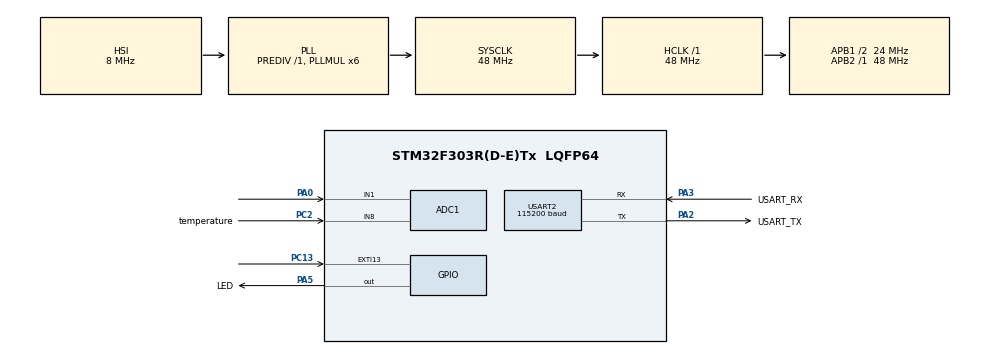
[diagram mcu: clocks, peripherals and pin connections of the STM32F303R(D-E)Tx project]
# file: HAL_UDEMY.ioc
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ADC1.Channel-3\#ChannelRegularConversion=ADC_CHANNEL_1
ADC1.ContinuousConvMode=ENABLE
ADC1.NbrOfConversionFlag=1
ADC1.Offset-3\#ChannelRegularConversion=0
ADC1.OffsetNumber-3\#ChannelRegularConversion=ADC_OFFSET_NONE
ADC1.Rank-3\#ChannelRegularConversion=1
ADC1.SamplingTime-3\#ChannelRegularConversion=ADC_SAMPLETIME_1CYCLE_5
ADC1.master=1
Mcu.Family=STM32F3
Mcu.Name=STM32F303R(D-E)Tx
Mcu.Package=LQFP64
NVIC.PriorityGroup=NVIC_PRIORITYGROUP_0
NVIC.TIM3_IRQn=true\:0\:0\:false\:false\:true\:true\:true\:true
PA0.Mode=IN1-Single-Ended
PA0.Signal=ADC1_IN1
PA13.GPIO_Label=TMS
PA13.Mode=Serial_Wire
PA13.Signal=SYS_JTMS-SWDIO
PA14.GPIO_Label=TCK
PA14.Mode=Serial_Wire
PA14.Signal=SYS_JTCK-SWCLK
PA2.GPIO_Label=USART_TX
PA2.GPIO_Mode=GPIO_MODE_AF_PP
PA2.GPIO_PuPd=GPIO_NOPULL
PA2.GPIO_Speed=GPIO_SPEED_FREQ_LOW
PA2.Mode=Asynchronous
PA2.Signal=USART2_TX
PA3.GPIO_Label=USART_RX
PA3.GPIO_Mode=GPIO_MODE_AF_PP
PA3.GPIO_PuPd=GPIO_NOPULL
PA3.GPIO_Speed=GPIO_SPEED_FREQ_LOW
PA3.Mode=Asynchronous
PA3.Signal=USART2_RX
PA5.GPIO_Label=LED
PA5.GPIO_Mode=GPIO_MODE_OUTPUT_PP
PA5.GPIO_PuPd=GPIO_NOPULL
PA5.GPIO_Speed=GPIO_SPEED_FREQ_LOW
PA5.Signal=GPIO_Output
PB3.GPIO_Label=SWO
PB3.Signal=SYS_JTDO-TRACESWO
PC13.Signal=GPXTI13
PC14-OSC32_IN.Signal=RCC_OSC32_IN
PC15-OSC32_OUT.Signal=RCC_OSC32_OUT
PC2.GPIO_Label=temperature
PC2.Signal=ADCx_IN8
PF0-OSC_IN.Signal=RCC_OSC_IN
PF1-OSC_OUT.Signal=RCC_OSC_OUT
ProjectManager.HeapSize=0x200
ProjectManager.StackSize=0x400
ProjectManager.TargetToolchain=STM32CubeIDE
RCC.AHBFreq_Value=48000000
RCC.APB1CLKDivider=RCC_HCLK_DIV2
RCC.APB1Freq_Value=24000000
RCC.APB1TimFreq_Value=48000000
RCC.APB2Freq_Value=48000000
RCC.APB2TimFreq_Value=48000000
RCC.CortexFreq_Value=48000000
RCC.HCLKFreq_Value=48000000
RCC.HSE_VALUE=8000000
RCC.HSI_VALUE=8000000
RCC.LSE_VALUE=32768
RCC.PLLM=8
RCC.PLLMUL=RCC_PLL_MUL6
RCC.PLLN=336
RCC.PLLP=RCC_PLLP_DIV4
RCC.PLLQ=7
RCC.RCC_PLLsource_Clock_Source_FROM_HSE=RCC_HSE_PREDIV_DIV2
RCC.SYSCLKFreq_VALUE=48000000
RCC.SYSCLKSourceVirtual=RCC_SYSCLKSOURCE_PLLCLK
RCC.USBFreq_Value=48000000
SH.ADCx_IN8.0=ADC1_IN8,IN8-Single-Ended
TIM3.Period=5000-1
TIM3.Prescaler=1600-1
TIM6.Period=0xFFFF
TIM6.Prescaler=48-1
USART2.BaudRate=115200
USART2.VirtualMode-Asynchronous=VM_ASYNC
VP_TIM3_VS_ClockSourceINT.Mode=Internal
VP_TIM6_VS_ClockSourceINT.Mode=Enable_Timer
board=NUCLEO-F303RE

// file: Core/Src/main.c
/* USER CODE BEGIN Header */
/**
  ******************************************************************************
  * @file           : main.c
  * @brief          : Main program body
  ******************************************************************************
  * @attention
  *
  * Copyright (c) 2022 STMicroelectronics.
  * All rights reserved.
  *
  * This software is licensed under terms that can be found in the LICENSE file
  * in the root directory of this software component.
  * If no LICENSE file comes with this software, it is provided AS-IS.
  *
  ******************************************************************************
  */
/* USER CODE END Header */
#include "main.h"

/* USER CODE BEGIN Includes */
#include <stdint.h>
#include <stdio.h>
/* USER CODE END Includes */

/* USER CODE BEGIN PTD */
#define KVALUEADDR 0x0A    //the start address of the K value stored in the EEPROM
#define RES2 820.0
#define ECREF 200.0

/* USER CODE END PTD */

/* USER CODE BEGIN PM */
uint8_t buttonStatus;

/* USER CODE END PM */

 ADC_HandleTypeDef hadc1;

TIM_HandleTypeDef htim3;
TIM_HandleTypeDef htim6;

UART_HandleTypeDef huart2;

/* USER CODE BEGIN PV */

 // BTN = PC13, BUS=AHB2
 //LED = PA5, BUS = AHB2

/* USER CODE END PV */

void SystemClock_Config(void);
static void MX_GPIO_Init(void);
static void MX_USART2_UART_Init(void);
static void MX_TIM3_Init(void);
static void MX_ADC1_Init(void);
static void MX_TIM6_Init(void);
/* USER CODE BEGIN PFP */
static void adc_start(void);
/* USER CODE END PFP */

/* USER CODE BEGIN 0 */

/***************************DS18B20FUNCTIONS****************************************/
void delay (uint16_t time)
{
	/* change your code here for the delay in microseconds */
	__HAL_TIM_SET_COUNTER(&htim6, 0);
	while ((__HAL_TIM_GET_COUNTER(&htim6))<time);
}

uint8_t Rh_byte1, Rh_byte2, Temp_byte1, Temp_byte2;
uint16_t SUM, RH, TEMP;
int state;
float Temperature = 0;
float Humidity = 0;
uint8_t Presence = 0;

void Set_Pin_Output (GPIO_TypeDef *GPIOx, uint16_t GPIO_Pin)
{
	GPIO_InitTypeDef GPIO_InitStruct = {0};
	GPIO_InitStruct.Pin = GPIO_Pin;
	GPIO_InitStruct.Mode = GPIO_MODE_OUTPUT_PP;
	GPIO_InitStruct.Speed = GPIO_SPEED_FREQ_LOW;
	HAL_GPIO_Init(GPIOx, &GPIO_InitStruct);
}

void Set_Pin_Input (GPIO_TypeDef *GPIOx, uint16_t GPIO_Pin)
{
	GPIO_InitTypeDef GPIO_InitStruct = {0};
	GPIO_InitStruct.Pin = GPIO_Pin;
	GPIO_InitStruct.Mode = GPIO_MODE_INPUT;
	GPIO_InitStruct.Pull = GPIO_PULLUP;
	HAL_GPIO_Init(GPIOx, &GPIO_InitStruct);
}

/*********************************** DS18B20 FUNCTIONS ***************************************/

#define DS18B20_PORT GPIOB
#define DS18B20_PIN GPIO_PIN_1

uint8_t DS18B20_Start (void)
{
	uint8_t Response = 0;
	Set_Pin_Output(DS18B20_PORT, DS18B20_PIN);   // set the pin as output
	HAL_GPIO_WritePin (DS18B20_PORT, DS18B20_PIN, 0);  // pull the pin low
	delay (480);   // delay according to datasheet

	Set_Pin_Input(DS18B20_PORT, DS18B20_PIN);    // set the pin as input
	delay (80);    // delay according to datasheet

	if (!(HAL_GPIO_ReadPin (DS18B20_PORT, DS18B20_PIN))) Response = 1;    // if the pin is low i.e the presence pulse is detected
	else Response = -1;

	delay (400); // 480 us delay totally.

	return Response;
}

void DS18B20_Write (uint8_t data)
{
	Set_Pin_Output(DS18B20_PORT, DS18B20_PIN);  // set as output

	for (int i=0; i<8; i++)
	{

		if ((data & (1<<i))!=0)  // if the bit is high
		{
			// write 1

			Set_Pin_Output(DS18B20_PORT, DS18B20_PIN);  // set as output
			HAL_GPIO_WritePin (DS18B20_PORT, DS18B20_PIN, 0);  // pull the pin LOW
			delay (1);  // wait for 1 us

			Set_Pin_Input(DS18B20_PORT, DS18B20_PIN);  // set as input
			delay (50);  // wait for 60 us
		}

		else  // if the bit is low
		{
			// write 0

			Set_Pin_Output(DS18B20_PORT, DS18B20_PIN);
			HAL_GPIO_WritePin (DS18B20_PORT, DS18B20_PIN, 0);  // pull the pin LOW
			delay (50);  // wait for 60 us

			Set_Pin_Input(DS18B20_PORT, DS18B20_PIN);
		}
	}
}

uint8_t DS18B20_Read (void)
{
	uint8_t value=0;

	Set_Pin_Input(DS18B20_PORT, DS18B20_PIN);

	for (int i=0;i<8;i++)
	{
		Set_Pin_Output(DS18B20_PORT, DS18B20_PIN);   // set as output

		HAL_GPIO_WritePin (DS18B20_PORT, DS18B20_PIN, 0);  // pull the data pin LOW
		delay (1);  // wait for > 1us
		state = HAL_GPIO_ReadPin (DS18B20_PORT, DS18B20_PIN);
		Set_Pin_Input(DS18B20_PORT, DS18B20_PIN);  // set as input
		if (HAL_GPIO_ReadPin (DS18B20_PORT, DS18B20_PIN))  // if the pin is HIGH
		{
			value |= 1<<i;  // read = 1
		}
		delay (50);  // wait for 60 us
	}
	return value;
}
 /******************************************DS18B20FUNCTIO**********************************************/

	char message[20] = "Hello from STM32\r\n";
	char message2[20];
	float voltage;

    float  _ecvalue = 0.0;
    float  _kvalue = 1.0;
    float  _kvalueLow=1.0;
    float  _kvalueHigh=1.0;
    float  _voltage=0.0;
    float  _temperature=25.0;
    float  _rawEC;
    float value = 0, valueTemp = 0;
	float sensor_value;
    float KValueTemp= 0.0;
    static float compECsolution;

	int modeIndex = 0;

	int __io_putchar(int ch)
	{
		HAL_UART_Transmit(&huart2, (uint8_t *) &ch , 1, 10);
		return ch;
	}
/* USER CODE END 0 */

int main(void)
{

  /* MCU Configuration--------------------------------------------------------*/

  /* Reset of all peripherals, Initializes the Flash interface and the Systick. */
  HAL_Init();

  /* Configure the system clock */
  SystemClock_Config();

  /* Initialize all configured peripherals */
  MX_GPIO_Init();
  MX_USART2_UART_Init();
  MX_TIM3_Init();
  MX_ADC1_Init();
  MX_TIM6_Init();
  /* USER CODE BEGIN 2 */
  HAL_TIM_Base_Start_IT(&htim3);
  HAL_TIM_Base_Start(&htim6);

  HAL_NVIC_SetPriority(EXTI15_10_IRQn, 0, 0);
  HAL_NVIC_EnableIRQ(EXTI15_10_IRQn);
  adc_start();
  HAL_UART_Transmit(&huart2, (uint8_t *) message , 20, 100);
  HAL_Delay(10);
  /* USER CODE END 2 */

  /* Infinite loop */
  /* USER CODE BEGIN WHILE */
  while (1)
  {
	  message[0]=0;

	  Presence = DS18B20_Start ();
	  	  HAL_Delay (1);
	  	  DS18B20_Write (0xCC);  // skip ROM
	  	  DS18B20_Write (0x44);  // convert t
	  	  HAL_Delay (800);

	  	  Presence = DS18B20_Start ();
	        HAL_Delay(1);
	        DS18B20_Write (0xCC);  // skip ROM
	        DS18B20_Write (0xBE);  // Read Scratch-pad

	        Temp_byte1 = DS18B20_Read();
	  	  Temp_byte2 = DS18B20_Read();
	  	  TEMP = (Temp_byte2<<8)|Temp_byte1;
	  	  Temperature = (float)TEMP/16;
	  	  _temperature = Temperature;

	  	 // HAL_Delay(1000);

    /* USER CODE END WHILE */

    /* USER CODE BEGIN 3 */
	  sensor_value = HAL_ADC_GetValue(&hadc1);
	  voltage = sensor_value/4096.0*3300;
	  _rawEC = 1000*voltage/RES2/ECREF;
	  valueTemp = _rawEC*_kvalue;

	  if(valueTemp > 2.5){
	          _kvalue = _kvalueHigh;
	      }else if(valueTemp < 2.0){
	          _kvalue = _kvalueLow;
	      }

	  value = _rawEC * _kvalue;
	  value = value / (1.0+0.0185*(Temperature-25.0));
	  _ecvalue = value;
	  HAL_Delay(10);
	  HAL_UART_Receive(&huart2, (uint8_t *) message2, 20 , 100);

	  analizeCMD(voltage, Temperature, message2);
  }
  /* USER CODE END 3 */
}

void SystemClock_Config(void)
{
  RCC_OscInitTypeDef RCC_OscInitStruct = {0};
  RCC_ClkInitTypeDef RCC_ClkInitStruct = {0};
  RCC_PeriphCLKInitTypeDef PeriphClkInit = {0};

  /** Initializes the RCC Oscillators according to the specified parameters
  * in the RCC_OscInitTypeDef structure.
  */
  RCC_OscInitStruct.OscillatorType = RCC_OSCILLATORTYPE_HSI;
  RCC_OscInitStruct.HSIState = RCC_HSI_ON;
  RCC_OscInitStruct.HSICalibrationValue = RCC_HSICALIBRATION_DEFAULT;
  RCC_OscInitStruct.PLL.PLLState = RCC_PLL_ON;
  RCC_OscInitStruct.PLL.PLLSource = RCC_PLLSOURCE_HSI;
  RCC_OscInitStruct.PLL.PLLMUL = RCC_PLL_MUL6;
  RCC_OscInitStruct.PLL.PREDIV = RCC_PREDIV_DIV1;
  if (HAL_RCC_OscConfig(&RCC_OscInitStruct) != HAL_OK)
  {
    Error_Handler();
  }

  /** Initializes the CPU, AHB and APB buses clocks
  */
  RCC_ClkInitStruct.ClockType = RCC_CLOCKTYPE_HCLK|RCC_CLOCKTYPE_SYSCLK
                              |RCC_CLOCKTYPE_PCLK1|RCC_CLOCKTYPE_PCLK2;
  RCC_ClkInitStruct.SYSCLKSource = RCC_SYSCLKSOURCE_PLLCLK;
  RCC_ClkInitStruct.AHBCLKDivider = RCC_SYSCLK_DIV1;
  RCC_ClkInitStruct.APB1CLKDivider = RCC_HCLK_DIV2;
  RCC_ClkInitStruct.APB2CLKDivider = RCC_HCLK_DIV1;

  if (HAL_RCC_ClockConfig(&RCC_ClkInitStruct, FLASH_LATENCY_1) != HAL_OK)
  {
    Error_Handler();
  }
  PeriphClkInit.PeriphClockSelection = RCC_PERIPHCLK_USART2|RCC_PERIPHCLK_ADC12
                              |RCC_PERIPHCLK_TIM34;
  PeriphClkInit.Usart2ClockSelection = RCC_USART2CLKSOURCE_PCLK1;
  PeriphClkInit.Adc12ClockSelection = RCC_ADC12PLLCLK_DIV1;
  PeriphClkInit.Tim34ClockSelection = RCC_TIM34CLK_HCLK;
  if (HAL_RCCEx_PeriphCLKConfig(&PeriphClkInit) != HAL_OK)
  {
    Error_Handler();
  }
}

static void MX_ADC1_Init(void)
{

  ADC_MultiModeTypeDef multimode = {0};
  ADC_ChannelConfTypeDef sConfig = {0};

  /* USER CODE BEGIN ADC1_Init 1 */
  __HAL_RCC_ADC1_CLK_ENABLE();

  /* USER CODE END ADC1_Init 1 */

  /** Common config
  */
  hadc1.Instance = ADC1;
  hadc1.Init.ClockPrescaler = ADC_CLOCK_ASYNC_DIV1;
  hadc1.Init.Resolution = ADC_RESOLUTION_12B;
  hadc1.Init.ScanConvMode = ADC_SCAN_DISABLE;
  hadc1.Init.ContinuousConvMode = ENABLE;
  hadc1.Init.DiscontinuousConvMode = DISABLE;
  hadc1.Init.ExternalTrigConvEdge = ADC_EXTERNALTRIGCONVEDGE_NONE;
  hadc1.Init.ExternalTrigConv = ADC_SOFTWARE_START;
  hadc1.Init.DataAlign = ADC_DATAALIGN_RIGHT;
  hadc1.Init.NbrOfConversion = 1;
  hadc1.Init.DMAContinuousRequests = DISABLE;
  hadc1.Init.EOCSelection = ADC_EOC_SINGLE_CONV;
  hadc1.Init.LowPowerAutoWait = DISABLE;
  hadc1.Init.Overrun = ADC_OVR_DATA_OVERWRITTEN;
  if (HAL_ADC_Init(&hadc1) != HAL_OK)
  {
    Error_Handler();
  }

  /** Configure the ADC multi-mode
  */
  multimode.Mode = ADC_MODE_INDEPENDENT;
  if (HAL_ADCEx_MultiModeConfigChannel(&hadc1, &multimode) != HAL_OK)
  {
    Error_Handler();
  }

  /** Configure Regular Channel
  */
  sConfig.Channel = ADC_CHANNEL_1;
  sConfig.Rank = ADC_REGULAR_RANK_1;
  sConfig.SingleDiff = ADC_SINGLE_ENDED;
  sConfig.SamplingTime = ADC_SAMPLETIME_1CYCLE_5;
  sConfig.OffsetNumber = ADC_OFFSET_NONE;
  sConfig.Offset = 0;
  if (HAL_ADC_ConfigChannel(&hadc1, &sConfig) != HAL_OK)
  {
    Error_Handler();
  }

}

static void MX_TIM3_Init(void)
{

  /* USER CODE BEGIN TIM3_Init 0 */
	__HAL_RCC_TIM3_CLK_ENABLE();
  /* USER CODE END TIM3_Init 0 */

  TIM_ClockConfigTypeDef sClockSourceConfig = {0};
  TIM_MasterConfigTypeDef sMasterConfig = {0};

  htim3.Instance = TIM3;
  htim3.Init.Prescaler = 1600-1;
  htim3.Init.CounterMode = TIM_COUNTERMODE_UP;
  htim3.Init.Period = 5000-1;
  htim3.Init.ClockDivision = TIM_CLOCKDIVISION_DIV1;
  htim3.Init.AutoReloadPreload = TIM_AUTORELOAD_PRELOAD_DISABLE;
  if (HAL_TIM_Base_Init(&htim3) != HAL_OK)
  {
    Error_Handler();
  }
  sClockSourceConfig.ClockSource = TIM_CLOCKSOURCE_INTERNAL;
  if (HAL_TIM_ConfigClockSource(&htim3, &sClockSourceConfig) != HAL_OK)
  {
    Error_Handler();
  }
  sMasterConfig.MasterOutputTrigger = TIM_TRGO_RESET;
  sMasterConfig.MasterSlaveMode = TIM_MASTERSLAVEMODE_DISABLE;
  if (HAL_TIMEx_MasterConfigSynchronization(&htim3, &sMasterConfig) != HAL_OK)
  {
    Error_Handler();
  }

}

static void MX_TIM6_Init(void)
{

  TIM_MasterConfigTypeDef sMasterConfig = {0};

  htim6.Instance = TIM6;
  htim6.Init.Prescaler = 48-1;
  htim6.Init.CounterMode = TIM_COUNTERMODE_UP;
  htim6.Init.Period = 0xFFFF;
  htim6.Init.AutoReloadPreload = TIM_AUTORELOAD_PRELOAD_DISABLE;
  if (HAL_TIM_Base_Init(&htim6) != HAL_OK)
  {
    Error_Handler();
  }
  sMasterConfig.MasterOutputTrigger = TIM_TRGO_RESET;
  sMasterConfig.MasterSlaveMode = TIM_MASTERSLAVEMODE_DISABLE;
  if (HAL_TIMEx_MasterConfigSynchronization(&htim6, &sMasterConfig) != HAL_OK)
  {
    Error_Handler();
  }

}

static void MX_USART2_UART_Init(void)
{

  /* USER CODE BEGIN USART2_Init 0 */

	GPIO_InitTypeDef GPIO_InitStruct = {0};

	__HAL_RCC_GPIOA_CLK_ENABLE();

	__HAL_RCC_USART2_CLK_ENABLE();

	GPIO_InitStruct.Pin = USART_TX_Pin | USART_RX_Pin;
    GPIO_InitStruct.Mode = GPIO_MODE_AF_PP;
    GPIO_InitStruct.Alternate = GPIO_AF7_USART2;
    GPIO_InitStruct.Pull = GPIO_NOPULL;
    GPIO_InitStruct.Speed = GPIO_SPEED_FREQ_HIGH;
    HAL_GPIO_Init(GPIOA, &GPIO_InitStruct);

  /* USER CODE END USART2_Init 0 */

  huart2.Instance = USART2;
  huart2.Init.BaudRate = 115200;
  huart2.Init.WordLength = UART_WORDLENGTH_8B;
  huart2.Init.StopBits = UART_STOPBITS_1;
  huart2.Init.Parity = UART_PARITY_NONE;
  huart2.Init.Mode = UART_MODE_TX_RX;
  huart2.Init.HwFlowCtl = UART_HWCONTROL_NONE;
  huart2.Init.OverSampling = UART_OVERSAMPLING_16;
  huart2.Init.OneBitSampling = UART_ONE_BIT_SAMPLE_DISABLE;
  huart2.AdvancedInit.AdvFeatureInit = UART_ADVFEATURE_NO_INIT;
  if (HAL_UART_Init(&huart2) != HAL_OK)
  {
    Error_Handler();
  }

}

static void MX_GPIO_Init(void)
{
  GPIO_InitTypeDef GPIO_InitStruct = {0};

  /* GPIO Ports Clock Enable */
  __HAL_RCC_GPIOC_CLK_ENABLE();
  __HAL_RCC_GPIOF_CLK_ENABLE();
  __HAL_RCC_GPIOA_CLK_ENABLE();
  __HAL_RCC_GPIOB_CLK_ENABLE();

  /*Configure GPIO pin Output Level */
  HAL_GPIO_WritePin(LED_GPIO_Port, LED_Pin, GPIO_PIN_RESET);

  /*Configure GPIO pin : PC13 */
  GPIO_InitStruct.Pin = GPIO_PIN_13;
  GPIO_InitStruct.Mode = GPIO_MODE_IT_RISING;
  GPIO_InitStruct.Pull = GPIO_NOPULL;
  HAL_GPIO_Init(GPIOC, &GPIO_InitStruct);

  /*Configure GPIO pin : LED_Pin */
  GPIO_InitStruct.Pin = LED_Pin;
  GPIO_InitStruct.Mode = GPIO_MODE_OUTPUT_PP;
  GPIO_InitStruct.Pull = GPIO_NOPULL;
  GPIO_InitStruct.Speed = GPIO_SPEED_FREQ_LOW;
  HAL_GPIO_Init(LED_GPIO_Port, &GPIO_InitStruct);

}

/* USER CODE BEGIN 4 */

void HAL_TIM_PeriodElapsedCallback(TIM_HandleTypeDef *htim)
{
	//printf("timer function callback\r\n");
}

uint32_t pa0_adc_read(void)
{
	return HAL_ADC_GetValue(&hadc1);
}

void adc_start(void)
{
	MX_ADC1_Init();
	HAL_ADC_Start(&hadc1);
}

void HAL_GPIO_EXTI_Callback(uint16_t GPIO_Pin){
	//calback de la interrupció
	if(GPIO_Pin == GPIO_PIN_13){
		HAL_GPIO_TogglePin(LED_GPIO_Port, LED_Pin);
	}
}

void EXTI15_10_IRQHandler(void)
{
	HAL_GPIO_EXTI_IRQHandler(GPIO_PIN_13);
}

////////////////////////////////////////////////////////////////////////////////////

void calibration(float voltage, float temperature,int modeIndex)
{
    _voltage = voltage;
    _temperature = Temperature;
    ecCalibration(modeIndex);                     //if received Serial CMD from the serial monitor, enter into the calibration mode
}

void ecCalibration(int mode)
{
    char *receivedBufferPtr;
    static int ecCalibrationFinish  = 0;
    static int enterCalibrationFlag = 0;
    switch(mode){
        case 0:
        if(enterCalibrationFlag){
            printf((">>>Command Error<<<"));
        }
        break;
        case 1:
        enterCalibrationFlag = 1;
        ecCalibrationFinish  = 0;
        printf("\n");
        printf((">>>Enter EC Calibration Mode<<<\n"));
        printf((">>>Please put the probe into the 1413us/cm or 12.88ms/cm buffer solution<<<\n"));
        printf("\n");
        break;
        case 2:

		  Presence = DS18B20_Start ();
		  HAL_Delay (1);
		  DS18B20_Write (0xCC);  // skip ROM
		  DS18B20_Write (0x44);  // convert t
		  HAL_Delay (800);

		  Presence = DS18B20_Start ();
		  HAL_Delay(1);
		  DS18B20_Write (0xCC);  // skip ROM
		  DS18B20_Write (0xBE);  // Read Scratch-pad

		  Temp_byte1 = DS18B20_Read();
		  Temp_byte2 = DS18B20_Read();
		  TEMP = (Temp_byte2<<8)|Temp_byte1;
		  Temperature = (float)TEMP/16;
		  _temperature = Temperature;
        if(enterCalibrationFlag){
            if((_rawEC>0.9)&&(_rawEC<1.9)){                         //recognize 1.413us/cm buffer solution
                compECsolution = 1.413*(1.0+0.0185*(_temperature-25.0));  //temperature compensation
            }else if((_rawEC>9)&&(_rawEC<16.8)){                    //recognize 12.88ms/cm buffer solution
                compECsolution = 12.88*(1.0+0.0185*(_temperature-25.0));  //temperature compensation
            }else{
                printf((">>>Buffer Solution Error Try Again<<< <\n  "));
                ecCalibrationFinish = 0;
            }
            KValueTemp = RES2*ECREF*compECsolution/1000.0/voltage;       //calibrate the k value
            if((KValueTemp>0.5) && (KValueTemp<1.5)){
                printf("\n");
                printf(">>>Successful,K:%d\n",KValueTemp);
                printf((", Send EXITEC to Save and Exit<<<\n"));
                if((_rawEC>0.9)&&(_rawEC<1.9)){
                    _kvalueLow =  KValueTemp;
                }else if((_rawEC>9)&&(_rawEC<16.8)){
                    _kvalueHigh =  KValueTemp;
                }
                ecCalibrationFinish = 1;
          }
            else{
                printf("\n");
                printf((">>>Failed,Try Again<<<\n"));
                printf("\n");
                ecCalibrationFinish = 0;
            }
        }
        break;
        case 3:
        if(enterCalibrationFlag){
            printf("\n");
                if(ecCalibrationFinish){
                    if((_rawEC>0.9)&&(_rawEC<1.9)){
                    	//KVALUEADDR=_kvalueLow;
                    }else if((_rawEC>9)&&(_rawEC<16.8)){
                        //KVALUEADDR+4 = _kvalueHigh;
                    }
                    printf((">>>Calibration Successful\n"));
                }else{
                    printf((">>>Calibration Failed\n"));
                }
                printf((",Exit EC Calibration Mode<<<\n"));
                printf("\n");
                ecCalibrationFinish  = 0;
                enterCalibrationFlag = 0;
        }
        break;
    }
}

void analizeCMD(float voltage, float temperature, char *message){
	switch(message[0]){
	case 1:
		modeIndex = 1;
		calibration( voltage,  temperature,  modeIndex);
		break;
	case 2:
		modeIndex = 2;
		calibration( voltage,  temperature,  modeIndex);
		break;
	case 3:
		modeIndex = 3;
		calibration( voltage,  temperature,  modeIndex);
		break;
	default:
		break;
	}

}

////////////////////////////////////////////////////////////////////////////////////
/* USER CODE END 4 */

void Error_Handler(void)
{
  __disable_irq();
  while (1)
  {
  }
}
